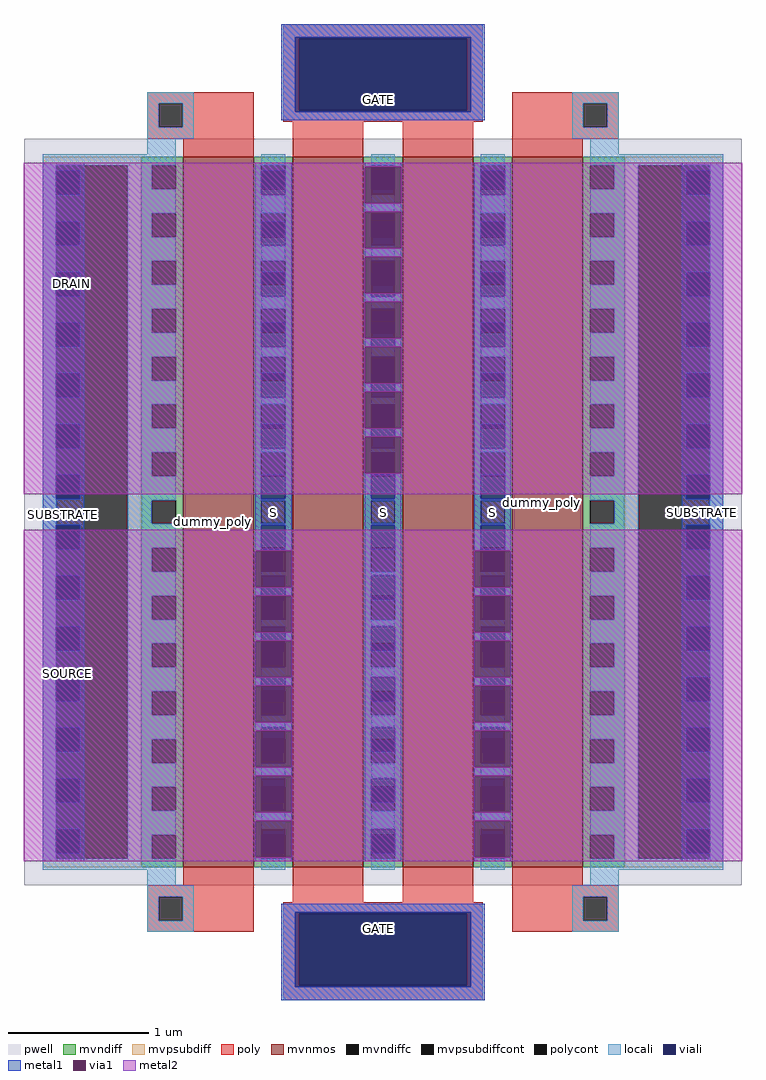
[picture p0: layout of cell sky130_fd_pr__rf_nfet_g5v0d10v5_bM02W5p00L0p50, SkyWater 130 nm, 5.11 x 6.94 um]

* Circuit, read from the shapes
.subckt sky130_fd_pr__rf_nfet_g5v0d10v5_bM02W5p00L0p50 DRAIN GATE SOURCE SUBSTRATE
XM1 SOURCE SUBSTRATE SUBSTRATE SUBSTRATE sky130_fd_pr__nfet_g5v0d10v5 w=5.05 l=0.5 m=2
XM2 DRAIN GATE SOURCE SUBSTRATE sky130_fd_pr__nfet_g5v0d10v5 w=5.05 l=0.5 m=2
.ends

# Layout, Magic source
magic
tech sky130A
magscale 1 2
<< pwell >>
rect 15 163 1035 1225
<< mvnmos >>
rect 241 189 341 1199
rect 397 189 497 1199
rect 553 189 653 1199
rect 709 189 809 1199
<< mvndiff >>
rect 181 1187 241 1199
rect 181 1153 196 1187
rect 230 1153 241 1187
rect 181 1119 241 1153
rect 181 1085 196 1119
rect 230 1085 241 1119
rect 181 1051 241 1085
rect 181 1017 196 1051
rect 230 1017 241 1051
rect 181 983 241 1017
rect 181 949 196 983
rect 230 949 241 983
rect 181 915 241 949
rect 181 881 196 915
rect 230 881 241 915
rect 181 847 241 881
rect 181 813 196 847
rect 230 813 241 847
rect 181 779 241 813
rect 181 745 196 779
rect 230 745 241 779
rect 181 711 241 745
rect 181 677 196 711
rect 230 677 241 711
rect 181 643 241 677
rect 181 609 196 643
rect 230 609 241 643
rect 181 575 241 609
rect 181 541 196 575
rect 230 541 241 575
rect 181 507 241 541
rect 181 473 196 507
rect 230 473 241 507
rect 181 439 241 473
rect 181 405 196 439
rect 230 405 241 439
rect 181 371 241 405
rect 181 337 196 371
rect 230 337 241 371
rect 181 303 241 337
rect 181 269 196 303
rect 230 269 241 303
rect 181 235 241 269
rect 181 201 196 235
rect 230 201 241 235
rect 181 189 241 201
rect 341 1187 397 1199
rect 341 1153 352 1187
rect 386 1153 397 1187
rect 341 1119 397 1153
rect 341 1085 352 1119
rect 386 1085 397 1119
rect 341 1051 397 1085
rect 341 1017 352 1051
rect 386 1017 397 1051
rect 341 983 397 1017
rect 341 949 352 983
rect 386 949 397 983
rect 341 915 397 949
rect 341 881 352 915
rect 386 881 397 915
rect 341 847 397 881
rect 341 813 352 847
rect 386 813 397 847
rect 341 779 397 813
rect 341 745 352 779
rect 386 745 397 779
rect 341 711 397 745
rect 341 677 352 711
rect 386 677 397 711
rect 341 643 397 677
rect 341 609 352 643
rect 386 609 397 643
rect 341 575 397 609
rect 341 541 352 575
rect 386 541 397 575
rect 341 507 397 541
rect 341 473 352 507
rect 386 473 397 507
rect 341 439 397 473
rect 341 405 352 439
rect 386 405 397 439
rect 341 371 397 405
rect 341 337 352 371
rect 386 337 397 371
rect 341 303 397 337
rect 341 269 352 303
rect 386 269 397 303
rect 341 235 397 269
rect 341 201 352 235
rect 386 201 397 235
rect 341 189 397 201
rect 497 1187 553 1199
rect 497 1153 508 1187
rect 542 1153 553 1187
rect 497 1119 553 1153
rect 497 1085 508 1119
rect 542 1085 553 1119
rect 497 1051 553 1085
rect 497 1017 508 1051
rect 542 1017 553 1051
rect 497 983 553 1017
rect 497 949 508 983
rect 542 949 553 983
rect 497 915 553 949
rect 497 881 508 915
rect 542 881 553 915
rect 497 847 553 881
rect 497 813 508 847
rect 542 813 553 847
rect 497 779 553 813
rect 497 745 508 779
rect 542 745 553 779
rect 497 711 553 745
rect 497 677 508 711
rect 542 677 553 711
rect 497 643 553 677
rect 497 609 508 643
rect 542 609 553 643
rect 497 575 553 609
rect 497 541 508 575
rect 542 541 553 575
rect 497 507 553 541
rect 497 473 508 507
rect 542 473 553 507
rect 497 439 553 473
rect 497 405 508 439
rect 542 405 553 439
rect 497 371 553 405
rect 497 337 508 371
rect 542 337 553 371
rect 497 303 553 337
rect 497 269 508 303
rect 542 269 553 303
rect 497 235 553 269
rect 497 201 508 235
rect 542 201 553 235
rect 497 189 553 201
rect 653 1187 709 1199
rect 653 1153 664 1187
rect 698 1153 709 1187
rect 653 1119 709 1153
rect 653 1085 664 1119
rect 698 1085 709 1119
rect 653 1051 709 1085
rect 653 1017 664 1051
rect 698 1017 709 1051
rect 653 983 709 1017
rect 653 949 664 983
rect 698 949 709 983
rect 653 915 709 949
rect 653 881 664 915
rect 698 881 709 915
rect 653 847 709 881
rect 653 813 664 847
rect 698 813 709 847
rect 653 779 709 813
rect 653 745 664 779
rect 698 745 709 779
rect 653 711 709 745
rect 653 677 664 711
rect 698 677 709 711
rect 653 643 709 677
rect 653 609 664 643
rect 698 609 709 643
rect 653 575 709 609
rect 653 541 664 575
rect 698 541 709 575
rect 653 507 709 541
rect 653 473 664 507
rect 698 473 709 507
rect 653 439 709 473
rect 653 405 664 439
rect 698 405 709 439
rect 653 371 709 405
rect 653 337 664 371
rect 698 337 709 371
rect 653 303 709 337
rect 653 269 664 303
rect 698 269 709 303
rect 653 235 709 269
rect 653 201 664 235
rect 698 201 709 235
rect 653 189 709 201
rect 809 1187 869 1199
rect 809 1153 820 1187
rect 854 1153 869 1187
rect 809 1119 869 1153
rect 809 1085 820 1119
rect 854 1085 869 1119
rect 809 1051 869 1085
rect 809 1017 820 1051
rect 854 1017 869 1051
rect 809 983 869 1017
rect 809 949 820 983
rect 854 949 869 983
rect 809 915 869 949
rect 809 881 820 915
rect 854 881 869 915
rect 809 847 869 881
rect 809 813 820 847
rect 854 813 869 847
rect 809 779 869 813
rect 809 745 820 779
rect 854 745 869 779
rect 809 711 869 745
rect 809 677 820 711
rect 854 677 869 711
rect 809 643 869 677
rect 809 609 820 643
rect 854 609 869 643
rect 809 575 869 609
rect 809 541 820 575
rect 854 541 869 575
rect 809 507 869 541
rect 809 473 820 507
rect 854 473 869 507
rect 809 439 869 473
rect 809 405 820 439
rect 854 405 869 439
rect 809 371 869 405
rect 809 337 820 371
rect 854 337 869 371
rect 809 303 869 337
rect 809 269 820 303
rect 854 269 869 303
rect 809 235 869 269
rect 809 201 820 235
rect 854 201 869 235
rect 809 189 869 201
<< mvndiffc >>
rect 196 1153 230 1187
rect 196 1085 230 1119
rect 196 1017 230 1051
rect 196 949 230 983
rect 196 881 230 915
rect 196 813 230 847
rect 196 745 230 779
rect 196 677 230 711
rect 196 609 230 643
rect 196 541 230 575
rect 196 473 230 507
rect 196 405 230 439
rect 196 337 230 371
rect 196 269 230 303
rect 196 201 230 235
rect 352 1153 386 1187
rect 352 1085 386 1119
rect 352 1017 386 1051
rect 352 949 386 983
rect 352 881 386 915
rect 352 813 386 847
rect 352 745 386 779
rect 352 677 386 711
rect 352 609 386 643
rect 352 541 386 575
rect 352 473 386 507
rect 352 405 386 439
rect 352 337 386 371
rect 352 269 386 303
rect 352 201 386 235
rect 508 1153 542 1187
rect 508 1085 542 1119
rect 508 1017 542 1051
rect 508 949 542 983
rect 508 881 542 915
rect 508 813 542 847
rect 508 745 542 779
rect 508 677 542 711
rect 508 609 542 643
rect 508 541 542 575
rect 508 473 542 507
rect 508 405 542 439
rect 508 337 542 371
rect 508 269 542 303
rect 508 201 542 235
rect 664 1153 698 1187
rect 664 1085 698 1119
rect 664 1017 698 1051
rect 664 949 698 983
rect 664 881 698 915
rect 664 813 698 847
rect 664 745 698 779
rect 664 677 698 711
rect 664 609 698 643
rect 664 541 698 575
rect 664 473 698 507
rect 664 405 698 439
rect 664 337 698 371
rect 664 269 698 303
rect 664 201 698 235
rect 820 1153 854 1187
rect 820 1085 854 1119
rect 820 1017 854 1051
rect 820 949 854 983
rect 820 881 854 915
rect 820 813 854 847
rect 820 745 854 779
rect 820 677 854 711
rect 820 609 854 643
rect 820 541 854 575
rect 820 473 854 507
rect 820 405 854 439
rect 820 337 854 371
rect 820 269 854 303
rect 820 201 854 235
<< mvpsubdiff >>
rect 41 1187 181 1199
rect 41 201 60 1187
rect 162 201 181 1187
rect 41 189 181 201
rect 869 1187 1009 1199
rect 869 201 888 1187
rect 990 201 1009 1187
rect 869 189 1009 201
<< mvpsubdiffcont >>
rect 60 201 162 1187
rect 888 201 990 1187
<< poly >>
rect 383 1367 667 1388
rect 190 1275 341 1291
rect 190 1241 206 1275
rect 240 1241 341 1275
rect 383 1265 406 1367
rect 644 1265 667 1367
rect 383 1249 667 1265
rect 709 1275 860 1291
rect 190 1225 341 1241
rect 241 1199 341 1225
rect 397 1199 497 1249
rect 553 1199 653 1249
rect 709 1241 810 1275
rect 844 1241 860 1275
rect 709 1225 860 1241
rect 709 1199 809 1225
rect 241 163 341 189
rect 190 147 341 163
rect 190 113 206 147
rect 240 113 341 147
rect 397 139 497 189
rect 553 139 653 189
rect 709 163 809 189
rect 709 147 860 163
rect 190 97 341 113
rect 383 123 667 139
rect 383 21 406 123
rect 644 21 667 123
rect 709 113 810 147
rect 844 113 860 147
rect 709 97 860 113
rect 383 0 667 21
<< polycont >>
rect 206 1241 240 1275
rect 406 1265 644 1367
rect 810 1241 844 1275
rect 206 113 240 147
rect 406 21 644 123
rect 810 113 844 147
<< locali >>
rect 383 1369 667 1388
rect 190 1275 256 1291
rect 190 1241 206 1275
rect 240 1241 256 1275
rect 383 1263 400 1369
rect 650 1263 667 1369
rect 383 1251 667 1263
rect 794 1275 860 1291
rect 190 1225 256 1241
rect 794 1241 810 1275
rect 844 1241 860 1275
rect 794 1225 860 1241
rect 190 1203 230 1225
rect 820 1203 860 1225
rect 41 1187 230 1203
rect 41 201 60 1187
rect 162 1153 196 1187
rect 162 1119 230 1153
rect 162 1085 196 1119
rect 162 1051 230 1085
rect 162 1017 196 1051
rect 162 983 230 1017
rect 162 949 196 983
rect 162 915 230 949
rect 162 881 196 915
rect 162 847 230 881
rect 162 813 196 847
rect 162 779 230 813
rect 162 745 196 779
rect 162 711 230 745
rect 162 677 196 711
rect 162 643 230 677
rect 162 609 196 643
rect 162 575 230 609
rect 162 541 196 575
rect 162 507 230 541
rect 162 473 196 507
rect 162 439 230 473
rect 162 405 196 439
rect 162 371 230 405
rect 162 337 196 371
rect 162 303 230 337
rect 162 269 196 303
rect 162 235 230 269
rect 162 201 196 235
rect 41 185 230 201
rect 352 1187 386 1203
rect 352 1119 386 1145
rect 352 1051 386 1073
rect 352 983 386 1001
rect 352 915 386 929
rect 352 847 386 857
rect 352 779 386 785
rect 352 711 386 713
rect 352 675 386 677
rect 352 603 386 609
rect 352 531 386 541
rect 352 459 386 473
rect 352 387 386 405
rect 352 315 386 337
rect 352 243 386 269
rect 352 185 386 201
rect 508 1187 542 1203
rect 508 1119 542 1145
rect 508 1051 542 1073
rect 508 983 542 1001
rect 508 915 542 929
rect 508 847 542 857
rect 508 779 542 785
rect 508 711 542 713
rect 508 675 542 677
rect 508 603 542 609
rect 508 531 542 541
rect 508 459 542 473
rect 508 387 542 405
rect 508 315 542 337
rect 508 243 542 269
rect 508 185 542 201
rect 664 1187 698 1203
rect 664 1119 698 1145
rect 664 1051 698 1073
rect 664 983 698 1001
rect 664 915 698 929
rect 664 847 698 857
rect 664 779 698 785
rect 664 711 698 713
rect 664 675 698 677
rect 664 603 698 609
rect 664 531 698 541
rect 664 459 698 473
rect 664 387 698 405
rect 664 315 698 337
rect 664 243 698 269
rect 664 185 698 201
rect 820 1187 1009 1203
rect 854 1153 888 1187
rect 820 1119 888 1153
rect 854 1085 888 1119
rect 820 1051 888 1085
rect 854 1017 888 1051
rect 820 983 888 1017
rect 854 949 888 983
rect 820 915 888 949
rect 854 881 888 915
rect 820 847 888 881
rect 854 813 888 847
rect 820 779 888 813
rect 854 745 888 779
rect 820 711 888 745
rect 854 677 888 711
rect 820 643 888 677
rect 854 609 888 643
rect 820 575 888 609
rect 854 541 888 575
rect 820 507 888 541
rect 854 473 888 507
rect 820 439 888 473
rect 854 405 888 439
rect 820 371 888 405
rect 854 337 888 371
rect 820 303 888 337
rect 854 269 888 303
rect 820 235 888 269
rect 854 201 888 235
rect 990 201 1009 1187
rect 820 185 1009 201
rect 190 163 230 185
rect 820 163 860 185
rect 190 147 256 163
rect 190 113 206 147
rect 240 113 256 147
rect 794 147 860 163
rect 190 97 256 113
rect 383 125 667 137
rect 383 19 400 125
rect 650 19 667 125
rect 794 113 810 147
rect 844 113 860 147
rect 794 97 860 113
rect 383 0 667 19
<< viali >>
rect 400 1367 650 1369
rect 400 1265 406 1367
rect 406 1265 644 1367
rect 644 1265 650 1367
rect 400 1263 650 1265
rect 60 1145 94 1179
rect 60 1073 94 1107
rect 60 1001 94 1035
rect 60 929 94 963
rect 60 857 94 891
rect 60 785 94 819
rect 60 713 94 747
rect 60 641 94 675
rect 60 569 94 603
rect 60 497 94 531
rect 60 425 94 459
rect 60 353 94 387
rect 60 281 94 315
rect 60 209 94 243
rect 352 1153 386 1179
rect 352 1145 386 1153
rect 352 1085 386 1107
rect 352 1073 386 1085
rect 352 1017 386 1035
rect 352 1001 386 1017
rect 352 949 386 963
rect 352 929 386 949
rect 352 881 386 891
rect 352 857 386 881
rect 352 813 386 819
rect 352 785 386 813
rect 352 745 386 747
rect 352 713 386 745
rect 352 643 386 675
rect 352 641 386 643
rect 352 575 386 603
rect 352 569 386 575
rect 352 507 386 531
rect 352 497 386 507
rect 352 439 386 459
rect 352 425 386 439
rect 352 371 386 387
rect 352 353 386 371
rect 352 303 386 315
rect 352 281 386 303
rect 352 235 386 243
rect 352 209 386 235
rect 508 1153 542 1179
rect 508 1145 542 1153
rect 508 1085 542 1107
rect 508 1073 542 1085
rect 508 1017 542 1035
rect 508 1001 542 1017
rect 508 949 542 963
rect 508 929 542 949
rect 508 881 542 891
rect 508 857 542 881
rect 508 813 542 819
rect 508 785 542 813
rect 508 745 542 747
rect 508 713 542 745
rect 508 643 542 675
rect 508 641 542 643
rect 508 575 542 603
rect 508 569 542 575
rect 508 507 542 531
rect 508 497 542 507
rect 508 439 542 459
rect 508 425 542 439
rect 508 371 542 387
rect 508 353 542 371
rect 508 303 542 315
rect 508 281 542 303
rect 508 235 542 243
rect 508 209 542 235
rect 664 1153 698 1179
rect 664 1145 698 1153
rect 664 1085 698 1107
rect 664 1073 698 1085
rect 664 1017 698 1035
rect 664 1001 698 1017
rect 664 949 698 963
rect 664 929 698 949
rect 664 881 698 891
rect 664 857 698 881
rect 664 813 698 819
rect 664 785 698 813
rect 664 745 698 747
rect 664 713 698 745
rect 664 643 698 675
rect 664 641 698 643
rect 664 575 698 603
rect 664 569 698 575
rect 664 507 698 531
rect 664 497 698 507
rect 664 439 698 459
rect 664 425 698 439
rect 664 371 698 387
rect 664 353 698 371
rect 664 303 698 315
rect 664 281 698 303
rect 664 235 698 243
rect 664 209 698 235
rect 956 1145 990 1179
rect 956 1073 990 1107
rect 956 1001 990 1035
rect 956 929 990 963
rect 956 857 990 891
rect 956 785 990 819
rect 956 713 990 747
rect 956 641 990 675
rect 956 569 990 603
rect 956 497 990 531
rect 956 425 990 459
rect 956 353 990 387
rect 956 281 990 315
rect 956 209 990 243
rect 400 123 650 125
rect 400 21 406 123
rect 406 21 644 123
rect 644 21 650 123
rect 400 19 650 21
<< metal1 >>
rect 380 1369 670 1388
rect 380 1263 400 1369
rect 650 1263 670 1369
rect 380 1251 670 1263
rect 41 1179 100 1191
rect 41 1145 60 1179
rect 94 1145 100 1179
rect 41 1107 100 1145
rect 41 1073 60 1107
rect 94 1073 100 1107
rect 41 1035 100 1073
rect 41 1001 60 1035
rect 94 1001 100 1035
rect 41 963 100 1001
rect 41 929 60 963
rect 94 929 100 963
rect 41 891 100 929
rect 41 857 60 891
rect 94 857 100 891
rect 41 819 100 857
rect 41 785 60 819
rect 94 785 100 819
rect 41 747 100 785
rect 41 713 60 747
rect 94 713 100 747
rect 41 675 100 713
rect 41 641 60 675
rect 94 641 100 675
rect 41 603 100 641
rect 41 569 60 603
rect 94 569 100 603
rect 41 531 100 569
rect 41 497 60 531
rect 94 497 100 531
rect 41 459 100 497
rect 41 425 60 459
rect 94 425 100 459
rect 41 387 100 425
rect 41 353 60 387
rect 94 353 100 387
rect 41 315 100 353
rect 41 281 60 315
rect 94 281 100 315
rect 41 243 100 281
rect 41 209 60 243
rect 94 209 100 243
rect 41 197 100 209
rect 343 1179 395 1191
rect 343 1145 352 1179
rect 386 1145 395 1179
rect 343 1107 395 1145
rect 343 1073 352 1107
rect 386 1073 395 1107
rect 343 1035 395 1073
rect 343 1001 352 1035
rect 386 1001 395 1035
rect 343 963 395 1001
rect 343 929 352 963
rect 386 929 395 963
rect 343 891 395 929
rect 343 857 352 891
rect 386 857 395 891
rect 343 819 395 857
rect 343 785 352 819
rect 386 785 395 819
rect 343 747 395 785
rect 343 713 352 747
rect 386 713 395 747
rect 343 675 395 713
rect 343 641 352 675
rect 386 641 395 675
rect 343 639 395 641
rect 343 575 352 587
rect 386 575 395 587
rect 343 511 352 523
rect 386 511 395 523
rect 343 447 352 459
rect 386 447 395 459
rect 343 387 395 395
rect 343 383 352 387
rect 386 383 395 387
rect 343 319 395 331
rect 343 255 395 267
rect 343 197 395 203
rect 499 1185 551 1191
rect 499 1121 551 1133
rect 499 1057 551 1069
rect 499 1001 508 1005
rect 542 1001 551 1005
rect 499 993 551 1001
rect 499 929 508 941
rect 542 929 551 941
rect 499 865 508 877
rect 542 865 551 877
rect 499 801 508 813
rect 542 801 551 813
rect 499 747 551 749
rect 499 713 508 747
rect 542 713 551 747
rect 499 675 551 713
rect 499 641 508 675
rect 542 641 551 675
rect 499 603 551 641
rect 499 569 508 603
rect 542 569 551 603
rect 499 531 551 569
rect 499 497 508 531
rect 542 497 551 531
rect 499 459 551 497
rect 499 425 508 459
rect 542 425 551 459
rect 499 387 551 425
rect 499 353 508 387
rect 542 353 551 387
rect 499 315 551 353
rect 499 281 508 315
rect 542 281 551 315
rect 499 243 551 281
rect 499 209 508 243
rect 542 209 551 243
rect 499 197 551 209
rect 655 1179 707 1191
rect 655 1145 664 1179
rect 698 1145 707 1179
rect 655 1107 707 1145
rect 655 1073 664 1107
rect 698 1073 707 1107
rect 655 1035 707 1073
rect 655 1001 664 1035
rect 698 1001 707 1035
rect 655 963 707 1001
rect 655 929 664 963
rect 698 929 707 963
rect 655 891 707 929
rect 655 857 664 891
rect 698 857 707 891
rect 655 819 707 857
rect 655 785 664 819
rect 698 785 707 819
rect 655 747 707 785
rect 655 713 664 747
rect 698 713 707 747
rect 655 675 707 713
rect 655 641 664 675
rect 698 641 707 675
rect 655 639 707 641
rect 655 575 664 587
rect 698 575 707 587
rect 655 511 664 523
rect 698 511 707 523
rect 655 447 664 459
rect 698 447 707 459
rect 655 387 707 395
rect 655 383 664 387
rect 698 383 707 387
rect 655 319 707 331
rect 655 255 707 267
rect 655 197 707 203
rect 950 1179 1009 1191
rect 950 1145 956 1179
rect 990 1145 1009 1179
rect 950 1107 1009 1145
rect 950 1073 956 1107
rect 990 1073 1009 1107
rect 950 1035 1009 1073
rect 950 1001 956 1035
rect 990 1001 1009 1035
rect 950 963 1009 1001
rect 950 929 956 963
rect 990 929 1009 963
rect 950 891 1009 929
rect 950 857 956 891
rect 990 857 1009 891
rect 950 819 1009 857
rect 950 785 956 819
rect 990 785 1009 819
rect 950 747 1009 785
rect 950 713 956 747
rect 990 713 1009 747
rect 950 675 1009 713
rect 950 641 956 675
rect 990 641 1009 675
rect 950 603 1009 641
rect 950 569 956 603
rect 990 569 1009 603
rect 950 531 1009 569
rect 950 497 956 531
rect 990 497 1009 531
rect 950 459 1009 497
rect 950 425 956 459
rect 990 425 1009 459
rect 950 387 1009 425
rect 950 353 956 387
rect 990 353 1009 387
rect 950 315 1009 353
rect 950 281 956 315
rect 990 281 1009 315
rect 950 243 1009 281
rect 950 209 956 243
rect 990 209 1009 243
rect 950 197 1009 209
rect 380 125 670 137
rect 380 19 400 125
rect 650 19 670 125
rect 380 0 670 19
<< via1 >>
rect 343 603 395 639
rect 343 587 352 603
rect 352 587 386 603
rect 386 587 395 603
rect 343 569 352 575
rect 352 569 386 575
rect 386 569 395 575
rect 343 531 395 569
rect 343 523 352 531
rect 352 523 386 531
rect 386 523 395 531
rect 343 497 352 511
rect 352 497 386 511
rect 386 497 395 511
rect 343 459 395 497
rect 343 425 352 447
rect 352 425 386 447
rect 386 425 395 447
rect 343 395 395 425
rect 343 353 352 383
rect 352 353 386 383
rect 386 353 395 383
rect 343 331 395 353
rect 343 315 395 319
rect 343 281 352 315
rect 352 281 386 315
rect 386 281 395 315
rect 343 267 395 281
rect 343 243 395 255
rect 343 209 352 243
rect 352 209 386 243
rect 386 209 395 243
rect 343 203 395 209
rect 499 1179 551 1185
rect 499 1145 508 1179
rect 508 1145 542 1179
rect 542 1145 551 1179
rect 499 1133 551 1145
rect 499 1107 551 1121
rect 499 1073 508 1107
rect 508 1073 542 1107
rect 542 1073 551 1107
rect 499 1069 551 1073
rect 499 1035 551 1057
rect 499 1005 508 1035
rect 508 1005 542 1035
rect 542 1005 551 1035
rect 499 963 551 993
rect 499 941 508 963
rect 508 941 542 963
rect 542 941 551 963
rect 499 891 551 929
rect 499 877 508 891
rect 508 877 542 891
rect 542 877 551 891
rect 499 857 508 865
rect 508 857 542 865
rect 542 857 551 865
rect 499 819 551 857
rect 499 813 508 819
rect 508 813 542 819
rect 542 813 551 819
rect 499 785 508 801
rect 508 785 542 801
rect 542 785 551 801
rect 499 749 551 785
rect 655 603 707 639
rect 655 587 664 603
rect 664 587 698 603
rect 698 587 707 603
rect 655 569 664 575
rect 664 569 698 575
rect 698 569 707 575
rect 655 531 707 569
rect 655 523 664 531
rect 664 523 698 531
rect 698 523 707 531
rect 655 497 664 511
rect 664 497 698 511
rect 698 497 707 511
rect 655 459 707 497
rect 655 425 664 447
rect 664 425 698 447
rect 698 425 707 447
rect 655 395 707 425
rect 655 353 664 383
rect 664 353 698 383
rect 698 353 707 383
rect 655 331 707 353
rect 655 315 707 319
rect 655 281 664 315
rect 664 281 698 315
rect 698 281 707 315
rect 655 267 707 281
rect 655 243 707 255
rect 655 209 664 243
rect 664 209 698 243
rect 698 209 707 243
rect 655 203 707 209
<< metal2 >>
rect 14 1185 1036 1191
rect 14 1133 499 1185
rect 551 1133 1036 1185
rect 14 1121 1036 1133
rect 14 1069 499 1121
rect 551 1069 1036 1121
rect 14 1057 1036 1069
rect 14 1005 499 1057
rect 551 1005 1036 1057
rect 14 993 1036 1005
rect 14 941 499 993
rect 551 941 1036 993
rect 14 929 1036 941
rect 14 877 499 929
rect 551 877 1036 929
rect 14 865 1036 877
rect 14 813 499 865
rect 551 813 1036 865
rect 14 801 1036 813
rect 14 749 499 801
rect 551 749 1036 801
rect 14 719 1036 749
rect 14 639 1036 669
rect 14 587 343 639
rect 395 587 655 639
rect 707 587 1036 639
rect 14 575 1036 587
rect 14 523 343 575
rect 395 523 655 575
rect 707 523 1036 575
rect 14 511 1036 523
rect 14 459 343 511
rect 395 459 655 511
rect 707 459 1036 511
rect 14 447 1036 459
rect 14 395 343 447
rect 395 395 655 447
rect 707 395 1036 447
rect 14 383 1036 395
rect 14 331 343 383
rect 395 331 655 383
rect 707 331 1036 383
rect 14 319 1036 331
rect 14 267 343 319
rect 395 267 655 319
rect 707 267 1036 319
rect 14 255 1036 267
rect 14 203 343 255
rect 395 203 655 255
rect 707 203 1036 255
rect 14 197 1036 203
<< labels >>
flabel metal1 s 470 85 568 119 0 FreeSans 200 0 0 0 GATE
port 2 nsew
flabel metal1 s 470 1263 568 1297 0 FreeSans 400 0 0 0 GATE
port 2 nsew
flabel metal1 s 950 679 1009 709 0 FreeSans 200 90 0 0 SUBSTRATE
port 4 nsew
flabel metal1 s 41 675 100 705 0 FreeSans 200 90 0 0 SUBSTRATE
port 4 nsew
flabel comment s 369 694 369 694 0 FreeSans 300 0 0 0 S
flabel comment s 369 694 369 694 0 FreeSans 300 0 0 0 S
flabel comment s 525 694 525 694 0 FreeSans 300 0 0 0 S
flabel comment s 525 694 525 694 0 FreeSans 300 0 0 0 D
flabel comment s 681 694 681 694 0 FreeSans 300 0 0 0 S
flabel comment s 681 694 681 694 0 FreeSans 300 0 0 0 S
flabel comment s 283 681 283 681 0 FreeSans 400 90 0 0 dummy_poly
flabel comment s 751 707 751 707 0 FreeSans 400 90 0 0 dummy_poly
flabel metal2 s 26 442 128 488 0 FreeSans 200 0 0 0 SOURCE
port 3 nsew
flabel metal2 s 26 991 137 1048 0 FreeSans 200 0 0 0 DRAIN
port 1 nsew
<< properties >>
string GDS_FILE $PDKPATH/libs.ref/sky130_fd_pr/gds/sky130_fd_pr.gds
string GDS_END 8665254
string GDS_START 8642602
<< end >>
